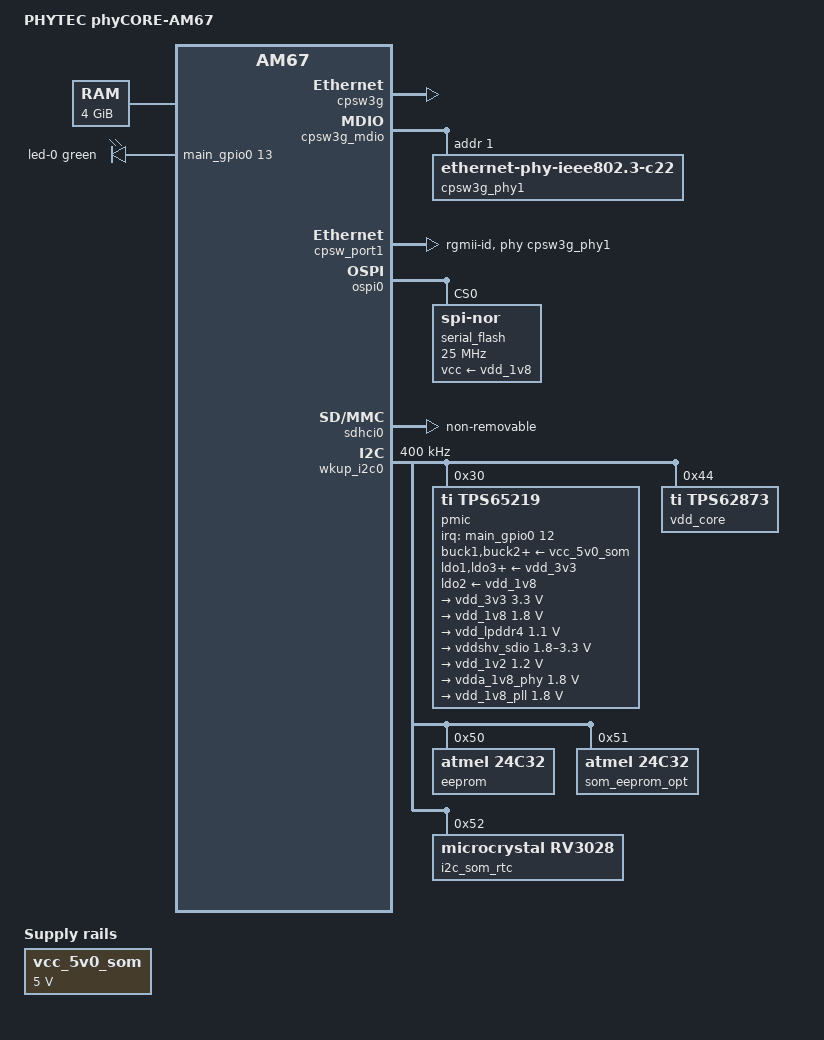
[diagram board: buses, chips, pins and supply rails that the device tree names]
// SPDX-License-Identifier: GPL-2.0-only OR MIT
/*
 * Copyright (C) 2026 PHYTEC America LLC
 * Author: Nathan Morrisson <nmorrisson@phytec.com>
 */

#include <dt-bindings/net/ti-dp83867.h>
#include <dt-bindings/leds/common.h>
#include <dt-bindings/gpio/gpio.h>
#include <dt-bindings/interrupt-controller/irq.h>

/ {
	compatible = "phytec,am67-phycore-som", "ti,j722s";
	model = "PHYTEC phyCORE-AM67";

	aliases {
		ethernet0 = &cpsw_port1;
		gpio0 = &main_gpio0;
		mmc0 = &sdhci0;
		rtc0 = &i2c_som_rtc;
		rtc1 = &wkup_rtc0;
		spi0 = &ospi0;
	};

	memory@80000000 {
		/* 4G RAM */
		reg = <0x00000000 0x80000000 0x00000000 0x80000000>,
		      <0x00000008 0x80000000 0x00000000 0x80000000>;
		device_type = "memory";
		bootph-all;
	};

	reserved_memory: reserved-memory {
		#address-cells = <2>;
		#size-cells = <2>;
		ranges;

		secure_tfa_ddr: tfa@9e780000 {
			reg = <0x00 0x9e780000 0x00 0x80000>;
			no-map;
		};

		secure_ddr: optee@9e800000 {
			reg = <0x00 0x9e800000 0x00 0x01800000>;
			no-map;
		};

		wkup_r5fss0_core0_dma_memory_region: memory@a0000000 {
			compatible = "shared-dma-pool";
			reg = <0x00 0xa0000000 0x00 0x100000>;
			no-map;
		};

		wkup_r5fss0_core0_memory_region: memory@a0100000 {
			compatible = "shared-dma-pool";
			reg = <0x00 0xa0100000 0x00 0xf00000>;
			no-map;
		};
	};

	vcc_5v0_som: regulator-vcc-5v0-som {
		compatible = "regulator-fixed";
		regulator-name = "VCC_5V0_SOM";
		regulator-min-microvolt = <5000000>;
		regulator-max-microvolt = <5000000>;
		regulator-always-on;
		regulator-boot-on;
	};

	leds {
		compatible = "gpio-leds";
		pinctrl-names = "default";
		pinctrl-0 = <&leds_pins_default>;

		led-0 {
			color = <LED_COLOR_ID_GREEN>;
			gpios = <&main_gpio0 13 GPIO_ACTIVE_HIGH>;
			linux,default-trigger = "heartbeat";
			function = LED_FUNCTION_HEARTBEAT;
		};
	};
};

&main_pmx0 {
	leds_pins_default: leds-default-pins {
		pinctrl-single,pins = <
			J722S_IOPAD(0x034, PIN_OUTPUT, 7)	/* (K22) OSPI0_CSN2.GPIO0_13 */
		>;
	};

	mdio_pins_default: mdio-default-pins {
		pinctrl-single,pins = <
			J722S_IOPAD(0x0160, PIN_OUTPUT, 0)	/* (AC24) MDIO0_MDC */
			J722S_IOPAD(0x015c, PIN_INPUT, 0)	/* (AD25) MDIO0_MDIO */
		>;
		bootph-all;
	};

	ospi0_pins_default: ospi0-default-pins {
		pinctrl-single,pins = <
			J722S_IOPAD(0x000, PIN_OUTPUT, 0)	/* (L24) OSPI0_CLK */
			J722S_IOPAD(0x02c, PIN_OUTPUT, 0)	/* (K26) OSPI0_CSn0 */
			J722S_IOPAD(0x00c, PIN_INPUT, 0)	/* (K27) OSPI0_D0 */
			J722S_IOPAD(0x010, PIN_INPUT, 0)	/* (L27) OSPI0_D1 */
			J722S_IOPAD(0x014, PIN_INPUT, 0)	/* (L26) OSPI0_D2 */
			J722S_IOPAD(0x018, PIN_INPUT, 0)	/* (L25) OSPI0_D3 */
			J722S_IOPAD(0x01c, PIN_INPUT, 0)	/* (L21) OSPI0_D4 */
			J722S_IOPAD(0x020, PIN_INPUT, 0)	/* (M26) OSPI0_D5 */
			J722S_IOPAD(0x024, PIN_INPUT, 0)	/* (N27) OSPI0_D6 */
			J722S_IOPAD(0x028, PIN_INPUT, 0)	/* (M27) OSPI0_D7 */
			J722S_IOPAD(0x008, PIN_INPUT, 0)	/* (L22) OSPI0_DQS */
			J722S_IOPAD(0x038, PIN_INPUT, 7)	/* (J22) OSPI0_CSn3.GPIO0_14 */
		>;
		bootph-all;
	};

	pmic_irq_pins_default: pmic-irq-default-pins {
		pinctrl-single,pins = <
			J722S_IOPAD(0x030, PIN_INPUT, 7)	/* (K23) OSPI0_CSN1.GPIO0_12 */
		>;
	};

	rgmii1_pins_default: rgmii1-default-pins {
		pinctrl-single,pins = <
			J722S_IOPAD(0x014c, PIN_INPUT, 0)	/* (AC25) RGMII1_RD0 */
			J722S_IOPAD(0x0150, PIN_INPUT, 0)	/* (AD27) RGMII1_RD1 */
			J722S_IOPAD(0x0154, PIN_INPUT, 0)	/* (AE24) RGMII1_RD2 */
			J722S_IOPAD(0x0158, PIN_INPUT, 0)	/* (AE26) RGMII1_RD3 */
			J722S_IOPAD(0x0148, PIN_INPUT, 0)	/* (AE27) RGMII1_RXC */
			J722S_IOPAD(0x0144, PIN_INPUT, 0)	/* (AD23) RGMII1_RX_CTL */
			J722S_IOPAD(0x0134, PIN_OUTPUT, 0)	/* (AF27) RGMII1_TD0 */
			J722S_IOPAD(0x0138, PIN_OUTPUT, 0)	/* (AE23) RGMII1_TD1 */
			J722S_IOPAD(0x013c, PIN_OUTPUT, 0)	/* (AG25) RGMII1_TD2 */
			J722S_IOPAD(0x0140, PIN_OUTPUT, 0)	/* (AF24) RGMII1_TD3 */
			J722S_IOPAD(0x0130, PIN_OUTPUT, 0)	/* (AG26) RGMII1_TXC */
			J722S_IOPAD(0x012c, PIN_OUTPUT, 0)	/* (AF25) RGMII1_TX_CTL */
		>;
		bootph-all;
	};
};

&mcu_pmx0 {
	wkup_i2c0_pins_default: wkup-i2c0-default-pins {
		pinctrl-single,pins = <
			J722S_MCU_IOPAD(0x04c, PIN_INPUT_PULLUP, 0)	/* (B9) WKUP_I2C0_SCL */
			J722S_MCU_IOPAD(0x050, PIN_INPUT_PULLUP, 0)	/* (D11) WKUP_I2C0_SDA */
		>;
		bootph-all;
	};
};

&cpsw3g {
	pinctrl-names = "default";
	pinctrl-0 = <&rgmii1_pins_default>;
	bootph-all;
	status = "okay";
};

&cpsw3g_mdio {
	pinctrl-names = "default";
	pinctrl-0 = <&mdio_pins_default>;
	status = "okay";

	cpsw3g_phy1: ethernet-phy@1 {
		compatible = "ethernet-phy-ieee802.3-c22";
		reg = <1>;
		ti,rx-internal-delay = <DP83867_RGMIIDCTL_2_00_NS>;
		tx-fifo-depth = <DP83867_PHYCR_FIFO_DEPTH_4_B_NIB>;
		ti,min-output-impedance;
	};
};

&cpsw_port1 {
	phy-mode = "rgmii-id";
	phy-handle = <&cpsw3g_phy1>;
	status = "okay";
};

&ospi0 {
	pinctrl-names = "default";
	pinctrl-0 = <&ospi0_pins_default>;
	bootph-all;
	status = "okay";

	serial_flash: flash@0 {
		compatible = "jedec,spi-nor";
		reg = <0x0>;
		spi-tx-bus-width = <8>;
		spi-rx-bus-width = <8>;
		spi-max-frequency = <25000000>;
		vcc-supply = <&vdd_1v8>;
		cdns,tshsl-ns = <60>;
		cdns,tsd2d-ns = <60>;
		cdns,tchsh-ns = <60>;
		cdns,tslch-ns = <60>;
		cdns,read-delay = <0>;
	};
};

&sdhci0 {
	non-removable;
	bootph-all;
	ti,driver-strength-ohm = <50>;
	status = "okay";
};

&wkup_i2c0 {
	pinctrl-names = "default";
	pinctrl-0 = <&wkup_i2c0_pins_default>;
	clock-frequency = <400000>;
	bootph-all;
	status = "okay";

	pmic@30 {
		compatible = "ti,tps65219";
		reg = <0x30>;
		buck1-supply = <&vcc_5v0_som>;
		buck2-supply = <&vcc_5v0_som>;
		buck3-supply = <&vcc_5v0_som>;
		ldo1-supply = <&vdd_3v3>;
		ldo2-supply = <&vdd_1v8>;
		ldo3-supply = <&vdd_3v3>;
		ldo4-supply = <&vdd_3v3>;

		pinctrl-names = "default";
		pinctrl-0 = <&pmic_irq_pins_default>;
		interrupt-parent = <&main_gpio0>;
		interrupts = <12 IRQ_TYPE_EDGE_FALLING>;
		interrupt-controller;
		#interrupt-cells = <1>;

		system-power-controller;
		ti,power-button;

		regulators {
			vdd_3v3: buck1 {
				regulator-name = "VDD_3V3";
				regulator-min-microvolt = <3300000>;
				regulator-max-microvolt = <3300000>;
				regulator-boot-on;
				regulator-always-on;
			};

			vdd_1v8: buck2 {
				regulator-name = "VDD_1V8";
				regulator-min-microvolt = <1800000>;
				regulator-max-microvolt = <1800000>;
				regulator-boot-on;
				regulator-always-on;
			};

			vdd_lpddr4: buck3 {
				regulator-name = "VDD_LPDDR4";
				regulator-min-microvolt = <1100000>;
				regulator-max-microvolt = <1100000>;
				regulator-boot-on;
				regulator-always-on;
			};

			vddshv_sdio: ldo1 {
				regulator-name = "VDDSHV_SDIO";
				regulator-min-microvolt = <1800000>;
				regulator-max-microvolt = <3300000>;
				regulator-allow-bypass;
				regulator-boot-on;
				regulator-always-on;
			};

			vdd_1v2: ldo2 {
				regulator-name = "VDD_1V2";
				regulator-min-microvolt = <1200000>;
				regulator-max-microvolt = <1200000>;
				regulator-boot-on;
				regulator-always-on;
			};

			vdda_1v8_phy: ldo3 {
				regulator-name = "VDDA_1V8_PHY";
				regulator-min-microvolt = <1800000>;
				regulator-max-microvolt = <1800000>;
				regulator-boot-on;
				regulator-always-on;
			};

			vdd_1v8_pll: ldo4 {
				regulator-name = "VDD_1V8_PLL";
				regulator-min-microvolt = <1800000>;
				regulator-max-microvolt = <1800000>;
				regulator-boot-on;
				regulator-always-on;
			};
		};
	};

	vdd_core: regulator-vdd-core@44 {
		compatible = "ti,tps62873";
		reg = <0x44>;
		bootph-pre-ram;
		regulator-name = "VDD_CORE";
		regulator-min-microvolt = <850000>;
		regulator-max-microvolt = <850000>;
		regulator-boot-on;
		regulator-always-on;
	};

	eeprom@50 {
		compatible = "atmel,24c32";
		reg = <0x50>;
		pagesize = <32>;
	};

	som_eeprom_opt: eeprom@51 {
		compatible = "atmel,24c32";
		reg = <0x51>;
		pagesize = <32>;
	};

	i2c_som_rtc: rtc@52 {
		compatible = "microcrystal,rv3028";
		reg = <0x52>;
	};
};

#include "k3-j722s-ti-ipc-firmware.dtsi"
